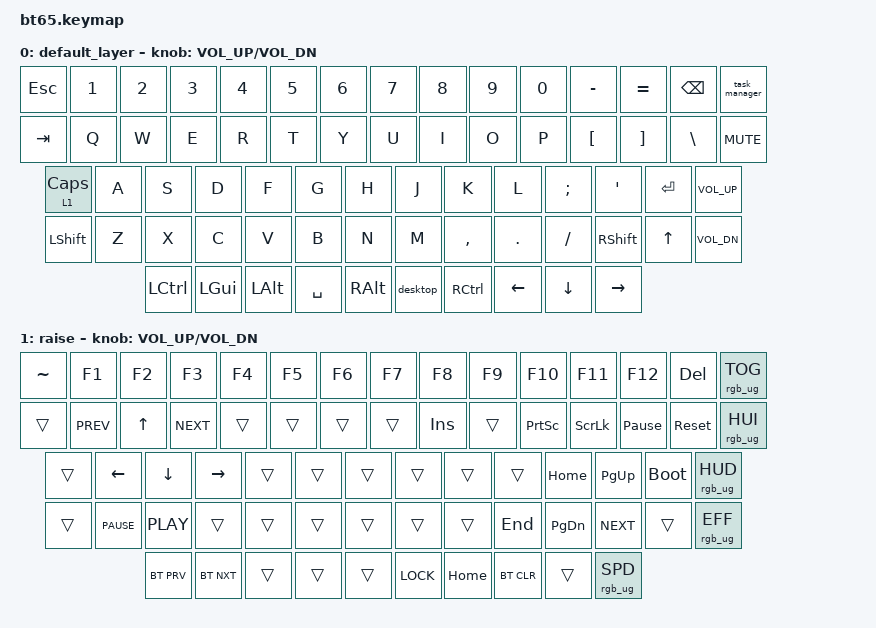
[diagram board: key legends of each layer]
#include <behaviors.dtsi>
#include <dt-bindings/zmk/keys.h>
#include <dt-bindings/zmk/rgb.h>
#include <dt-bindings/zmk/bt.h>

/ {
    macros {
        desktop: desktop {
            compatible = "zmk,behavior-macro";
            label = "DESKTOP";
            #binding-cells = <0>;
            bindings =
                <&macro_press>,
                <&kp LEFT_WIN>,
                <&macro_tap>,
                <&kp TAB>,
                <&macro_release>,
                <&kp LEFT_GUI>;
        };
        task_manager: task_manager {
            compatible = "zmk,behavior-macro";
            label = "TASK_MANAGER";
            #binding-cells = <0>;
            bindings =
                <&macro_press>,
                <&kp LEFT_CONTROL &kp LEFT_SHIFT &kp ESC>,
                <&macro_release>,
                <&kp LCTRL &kp LEFT_SHIFT &kp ESCAPE>;
        };
    };

    behaviors {
        magic_key: magic_key {
            compatible = "zmk,behavior-hold-tap";
            label = "MAGIC_KEY";
            bindings =
                <&mo>,
                <&kp>;

            #binding-cells = <2>;
            tapping-term-ms = <200>;
            quick-tap-ms = <123>;
            flavor = "tap-preferred";
            global-quick-tap;
        };
    };

    keymap {
        compatible = "zmk,keymap";

        default_layer {
            // ------------------------------------------------------------------------------------------------------------
            // |  `  |  1  |  2  |  3  |  4  |  5  |  6  |  7  |  8  |  9  |  0  |  -  |  =  |BKSP | INS		|
            // | TAB  |  Q  |  W  |  E  |  R  |  T  |  Y  |  U  |  I  |  O  |  P  |  [  |  ]  |   \    | DEL		|
            // | CAPS  |  A  |  S  |  D  |  F  |  G  |  H  |  J  |  K  |  L  |  ;  |  '  |     ENTER    |PGUP	|
            // |  SHIFT  |  Z  |  X  |  C  |  V  |  B  |  N  |  M  |  ,  |  .  | /   |   SHIFT  | UP   | PGDN|
            // |  CTL  |  WIN  |  ALT  |            SPACE               | ALT | 1    |  MENU| LEFT |  DOWN    | RIGHT	|
            // ------------------------------------------------------------------------------------------------------------

            bindings = <
          &kp ESC     &kp N1    &kp N2    &kp N3     &kp N4    &kp N5    &kp N6     &kp N7     &kp N8    &kp N9     &kp N0  &kp MINUS  &kp EQUAL  &kp BACKSPACE  &task_manager
          &kp TAB      &kp Q     &kp W     &kp E      &kp R     &kp T     &kp Y      &kp U      &kp I     &kp O      &kp P   &kp LBKT   &kp RBKT       &kp BSLH     &kp C_MUTE
&magic_key 1 CAPS      &kp A     &kp S     &kp D      &kp F     &kp G     &kp H      &kp J      &kp K     &kp L   &kp SEMI    &kp SQT    &kp RET   &kp C_VOL_UP
        &kp LSHFT      &kp Z     &kp X     &kp C      &kp V     &kp B     &kp N      &kp M  &kp COMMA   &kp DOT   &kp FSLH  &kp RSHFT     &kp UP   &kp C_VOL_DN
                   &kp LCTRL  &kp LGUI  &kp LALT  &kp SPACE  &kp RALT  &desktop  &kp RCTRL   &kp LEFT  &kp DOWN  &kp RIGHT
            >;

            sensor-bindings = <&inc_dec_kp C_VOL_UP C_VOL_DN>;
        };

        raise {
            bindings = <
&kp TILDE       &kp F1      &kp F2      &kp F3  &kp F4  &kp F5      &kp F6    &kp F7      &kp F8   &kp F9          &kp F10     &kp F11          &kp F12          &kp DEL  &rgb_ug RGB_TOG
   &trans   &kp C_PREV      &kp UP  &kp C_NEXT  &trans  &trans      &trans    &trans     &kp INS   &trans        &kp PSCRN    &kp SLCK  &kp PAUSE_BREAK       &sys_reset  &rgb_ug RGB_HUI
   &trans     &kp LEFT    &kp DOWN   &kp RIGHT  &trans  &trans      &trans    &trans      &trans   &trans         &kp HOME   &kp PG_UP      &bootloader  &rgb_ug RGB_HUD
   &trans  &kp C_PAUSE  &kp C_PLAY      &trans  &trans  &trans      &trans    &trans      &trans  &kp END        &kp PG_DN  &kp C_NEXT           &trans  &rgb_ug RGB_EFF
            &bt BT_PRV  &bt BT_NXT      &trans  &trans  &trans  &kp K_LOCK  &kp HOME  &bt BT_CLR   &trans  &rgb_ug RGB_SPD
            >;

            sensor-bindings = <&inc_dec_kp C_VOL_UP C_VOL_DN>;
        };
    };
};
